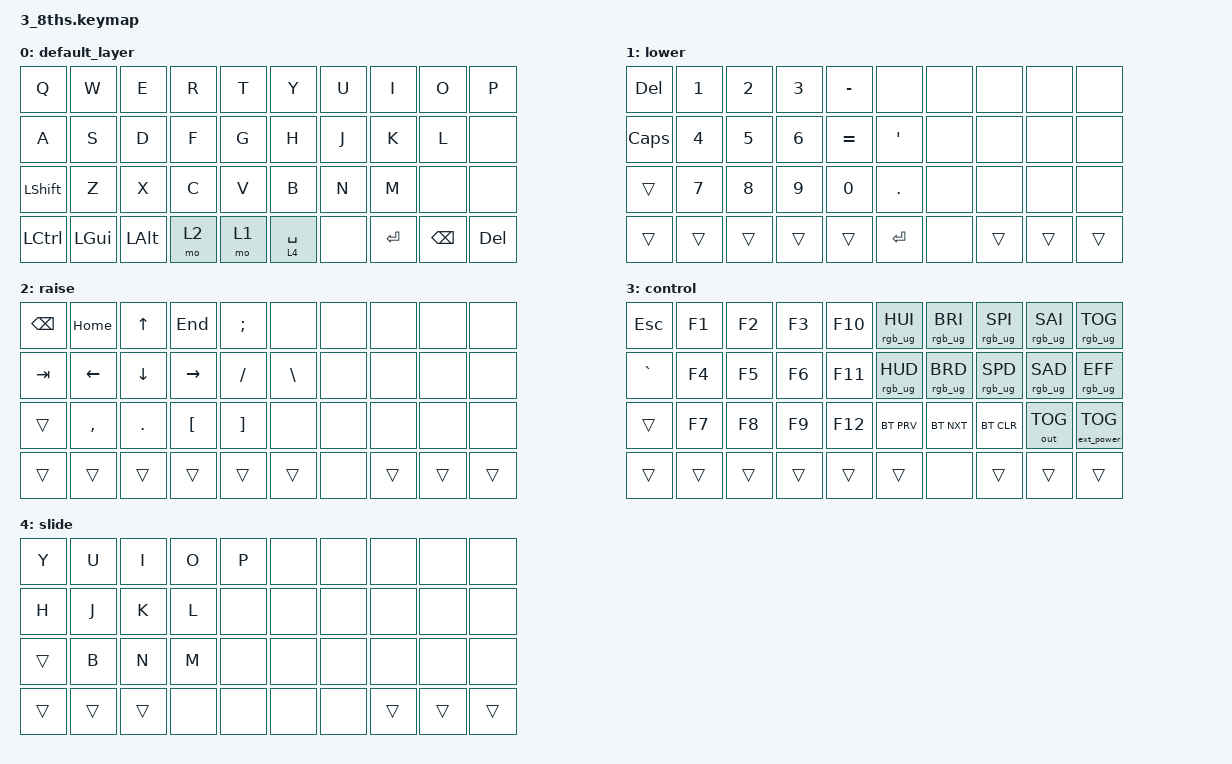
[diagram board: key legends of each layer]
/*
 * Copyright (c) 2020 The ZMK Contributors
 *
 * SPDX-License-Identifier: MIT
 */

#include <behaviors.dtsi>
#include <dt-bindings/zmk/keys.h>
#include <dt-bindings/zmk/bt.h>
#include <dt-bindings/zmk/rgb.h>
#include <dt-bindings/zmk/outputs.h>
#include <dt-bindings/zmk/ext_power.h>
#include <dt-bindings/led/led.h>


/ {
	conditional_layers {
		compatible = "zmk,conditional-layers";
        tri_layer {
			if-layers = <1 2>;
			then-layer = <3>;
        };
	};
};


/ {
	keymap {
		compatible = "zmk,keymap";

		default_layer {
				// -----------------------------------------------------------------------------------------
				// |   Q   |  W   |  E   |  R   |  T   |   Y   |   U   |  I  |  O   |  P   |
				// |   A   |  S   |  D   |  F   |  G   |   H   |   J   |  K  |  L   |      |
				// | SHIFT |  Z   |  X   |  C   |  V   |   B   |   N   |  M  |      |      |
				// | CTRL  | LGUI | LALT | RAIS | LOWR |  SPACE    |  ENTER  | BSPC |  DEL |
			bindings = <
				&kp Q     &kp W    &kp E    &kp R &kp T &kp Y     &kp U &kp I     &kp O    &kp P
				&kp A     &kp S    &kp D    &kp F &kp G &kp H     &kp J &kp K     &kp L    &none
				&kp LSHFT &kp Z    &kp X    &kp C &kp V &kp B     &kp N &kp M     &none    &none
				&kp LCTRL &kp LGUI &kp LALT &mo 2 &mo 1 &lt 4 SPACE &none &kp ENTER &kp BSPC &kp DEL
			>;
		};

		lower {
			bindings = <
				&kp DEL  &kp N1 &kp N2 &kp N3 &kp MINUS &none     &none &none  &none  &none
				&kp CAPS &kp N4 &kp N5 &kp N6 &kp EQUAL &kp APOS  &none &none  &none  &none
				&trans   &kp N7 &kp N8 &kp N9 &kp N0    &kp DOT   &none &none  &none  &none
				&trans   &trans &trans &trans &trans    &kp ENTER &none &trans &trans &trans
			>;
		};

		raise {
			bindings = <
				&kp BSPC &kp HOME  &kp UP   &kp END   &kp SEMI &none    &none &none  &none  &none
				&kp TAB  &kp LEFT  &kp DOWN &kp RIGHT &kp FSLH &kp BSLH &none &none  &none  &none
				&trans   &kp COMMA &kp DOT  &kp LBKT  &kp RBKT &none    &none &none  &none  &none
				&trans   &trans    &trans   &trans    &trans   &trans   &none &trans &trans &trans
			>;
		};
		
		control {
			bindings = <
				&kp ESC   &kp F1 &kp F2 &kp F3 &kp F10 &rgb_ug RGB_HUI &rgb_ug RGB_BRI &rgb_ug RGB_SPI &rgb_ug RGB_SAI &rgb_ug RGB_TOG
				&kp GRAVE &kp F4 &kp F5 &kp F6 &kp F11 &rgb_ug RGB_HUD &rgb_ug RGB_BRD &rgb_ug RGB_SPD &rgb_ug RGB_SAD &rgb_ug RGB_EFF
				&trans    &kp F7 &kp F8 &kp F9 &kp F12 &bt BT_PRV      &bt BT_NXT      &bt BT_CLR      &out OUT_TOG    &ext_power EP_TOG           
				&trans    &trans &trans &trans &trans  &trans          &none           &trans          &trans          &trans
			>;
		};
			
		slide {
			bindings = <
				&kp Y     &kp U     &kp I     &kp O     &kp P     &none     &none     &none     &none     &none
				&kp H     &kp J     &kp K     &kp L     &none     &none     &none     &none     &none     &none
				&trans    &kp B     &kp N     &kp M     &none     &none     &none     &none     &none     &none
				&trans    &trans    &trans    &none     &none     &none     &none     &trans    &trans    &trans
			>;
		};
	};
};

/*
 * Temporarily here because nice nano v2 spi is not defined on ZMk Yet
 * Source: https://github.com/zmkfirmware/zmk/blob/main/app/boards/shields/reviung41/boards/nice_nano.overlay
 * GitHub Issue: https://github.com/zmkfirmware/zmk/issues/885
 */

&spi1 {
   compatible = "nordic,nrf-spim";
   status = "okay";
   mosi-pin = <6>;
   // Unused pins, needed for SPI definition, but not used by the ws2812 driver itself.
   sck-pin = <5>;
   miso-pin = <7>;

   led_strip: ws2812@0 {
      compatible = "worldsemi,ws2812-spi";
      label = "WS2812";

      /* SPI */
      reg = <0>; /* ignored, but necessary for SPI bindings */
      spi-max-frequency = <4000000>;

      /* WS2812 */
      chain-length = <39>; /* arbitrary; change at will */
      spi-one-frame = <0x70>;
      spi-zero-frame = <0x40>;
      color-mapping = <LED_COLOR_ID_GREEN
				 	   LED_COLOR_ID_RED
					   LED_COLOR_ID_BLUE>;
   };
};

/ {
   chosen {
      zmk,underglow = &led_strip;
   };
};

/*
 * Temporarily here because nice nano v2 spi is not defined on ZMk YET
 */

/ {
	ext-power {control-gpios = <&gpio1 6 GPIO_ACTIVE_HIGH>; };
};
